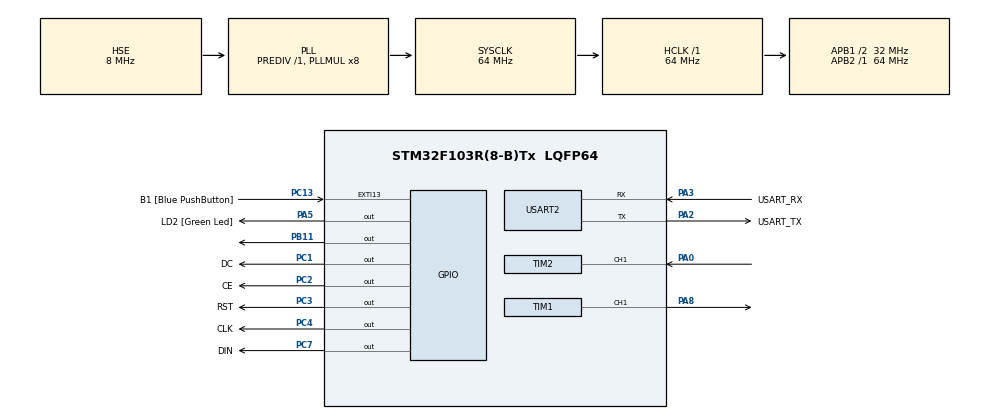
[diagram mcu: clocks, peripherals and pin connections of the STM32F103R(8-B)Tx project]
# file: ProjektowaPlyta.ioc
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Dma.Request0=TIM1_CH1
Dma.Request1=TIM2_CH1
Dma.Request2=TIM2_CH2/CH4
Dma.TIM1_CH1.0.Direction=DMA_MEMORY_TO_PERIPH
Dma.TIM1_CH1.0.Instance=DMA1_Channel2
Dma.TIM1_CH1.0.MemDataAlignment=DMA_MDATAALIGN_WORD
Dma.TIM1_CH1.0.MemInc=DMA_MINC_ENABLE
Dma.TIM1_CH1.0.Mode=DMA_NORMAL
Dma.TIM1_CH1.0.PeriphDataAlignment=DMA_PDATAALIGN_WORD
Dma.TIM1_CH1.0.PeriphInc=DMA_PINC_DISABLE
Dma.TIM1_CH1.0.Priority=DMA_PRIORITY_LOW
Dma.TIM2_CH1.1.Direction=DMA_PERIPH_TO_MEMORY
Dma.TIM2_CH1.1.Instance=DMA1_Channel5
Dma.TIM2_CH1.1.MemDataAlignment=DMA_MDATAALIGN_WORD
Dma.TIM2_CH1.1.MemInc=DMA_MINC_ENABLE
Dma.TIM2_CH1.1.Mode=DMA_NORMAL
Dma.TIM2_CH1.1.PeriphDataAlignment=DMA_PDATAALIGN_WORD
Dma.TIM2_CH1.1.PeriphInc=DMA_PINC_DISABLE
Dma.TIM2_CH1.1.Priority=DMA_PRIORITY_LOW
Dma.TIM2_CH2/CH4.2.Direction=DMA_PERIPH_TO_MEMORY
Dma.TIM2_CH2/CH4.2.Instance=DMA1_Channel7
Dma.TIM2_CH2/CH4.2.MemDataAlignment=DMA_MDATAALIGN_WORD
Dma.TIM2_CH2/CH4.2.MemInc=DMA_MINC_ENABLE
Dma.TIM2_CH2/CH4.2.Mode=DMA_NORMAL
Dma.TIM2_CH2/CH4.2.PeriphDataAlignment=DMA_PDATAALIGN_WORD
Dma.TIM2_CH2/CH4.2.PeriphInc=DMA_PINC_DISABLE
Dma.TIM2_CH2/CH4.2.Priority=DMA_PRIORITY_LOW
Mcu.Family=STM32F1
Mcu.Name=STM32F103R(8-B)Tx
Mcu.Package=LQFP64
NVIC.DMA1_Channel2_IRQn=true\:0\:0\:false\:false\:true\:false\:true
NVIC.DMA1_Channel5_IRQn=true\:0\:0\:false\:false\:true\:false\:true
NVIC.DMA1_Channel7_IRQn=true\:0\:0\:false\:false\:true\:false\:true
NVIC.EXTI15_10_IRQn=true\:0\:0\:false\:false\:true\:true\:true
NVIC.PriorityGroup=NVIC_PRIORITYGROUP_4
NVIC.TIM2_IRQn=true\:0\:0\:false\:false\:true\:true\:true
NVIC.TIM3_IRQn=true\:0\:0\:false\:false\:true\:true\:true
NVIC.USART2_IRQn=true\:0\:0\:false\:false\:true\:true\:true
PA0-WKUP.Signal=S_TIM2_CH1_ETR
PA13.GPIO_Label=TMS
PA13.Mode=Serial_Wire
PA13.Signal=SYS_JTMS-SWDIO
PA14.GPIO_Label=TCK
PA14.Mode=Serial_Wire
PA14.Signal=SYS_JTCK-SWCLK
PA2.GPIO_Label=USART_TX
PA2.GPIO_Mode=GPIO_MODE_AF_PP
PA2.GPIO_PuPd=GPIO_NOPULL
PA2.GPIO_Speed=GPIO_SPEED_FREQ_LOW
PA2.Mode=Asynchronous
PA2.Signal=USART2_TX
PA3.GPIO_Label=USART_RX
PA3.GPIO_Mode=GPIO_MODE_AF_PP
PA3.GPIO_PuPd=GPIO_NOPULL
PA3.GPIO_Speed=GPIO_SPEED_FREQ_LOW
PA3.Mode=Asynchronous
PA3.Signal=USART2_RX
PA5.GPIO_Label=LD2 [Green Led]
PA5.GPIO_ModeDefaultOutputPP=GPIO_MODE_OUTPUT_PP
PA5.GPIO_PuPd=GPIO_NOPULL
PA5.GPIO_Speed=GPIO_SPEED_FREQ_LOW
PA5.Signal=GPIO_Output
PA8.Signal=S_TIM1_CH1
PB11.Signal=GPIO_Output
PB3.GPIO_Label=SWO
PB3.Signal=SYS_JTDO-TRACESWO
PC1.GPIO_Label=DC
PC1.Signal=GPIO_Output
PC13-TAMPER-RTC.GPIO_Label=B1 [Blue PushButton]
PC13-TAMPER-RTC.GPIO_PuPd=GPIO_NOPULL
PC13-TAMPER-RTC.Signal=GPXTI13
PC14-OSC32_IN.Mode=LSE-External-Oscillator
PC14-OSC32_IN.Signal=RCC_OSC32_IN
PC15-OSC32_OUT.Mode=LSE-External-Oscillator
PC15-OSC32_OUT.Signal=RCC_OSC32_OUT
PC2.GPIO_Label=CE
PC2.Signal=GPIO_Output
PC3.GPIO_Label=RST
PC3.Signal=GPIO_Output
PC4.GPIO_Label=CLK
PC4.Signal=GPIO_Output
PC7.GPIO_Label=DIN
PC7.Signal=GPIO_Output
PD0-OSC_IN.Mode=HSE-External-Clock-Source
PD0-OSC_IN.Signal=RCC_OSC_IN
PD1-OSC_OUT.Mode=HSE-External-Clock-Source
PD1-OSC_OUT.Signal=RCC_OSC_OUT
ProjectManager.HeapSize=0x200
ProjectManager.StackSize=0x400
ProjectManager.TargetToolchain=STM32CubeIDE
RCC.AHBFreq_Value=64000000
RCC.APB1CLKDivider=RCC_HCLK_DIV2
RCC.APB1Freq_Value=32000000
RCC.APB1TimFreq_Value=64000000
RCC.APB2Freq_Value=64000000
RCC.APB2TimFreq_Value=64000000
RCC.HCLKFreq_Value=64000000
RCC.PLLMUL=RCC_PLL_MUL8
RCC.PLLSourceVirtual=RCC_PLLSOURCE_HSE
RCC.RTCClockSelection=RCC_RTCCLKSOURCE_LSE
RCC.SYSCLKFreq_VALUE=64000000
RCC.SYSCLKSource=RCC_SYSCLKSOURCE_PLLCLK
RCC.USBFreq_Value=64000000
SH.S_TIM1_CH1.0=TIM1_CH1,PWM Generation1 CH1
SH.S_TIM2_CH1_ETR.0=TIM2_CH1,Input_Capture1_from_TI1
TIM1.AutoReloadPreload=TIM_AUTORELOAD_PRELOAD_ENABLE
TIM1.Channel-PWM\ Generation1\ CH1=TIM_CHANNEL_1
TIM1.CounterMode=TIM_COUNTERMODE_UP
TIM1.Period=6399
TIM1.Prescaler=3
TIM1.Pulse-PWM\ Generation1\ CH1=3199
TIM2.Channel-Input_Capture1_from_TI1=TIM_CHANNEL_1
TIM2.Channel-Input_Capture2_from_TI1_63=TIM_CHANNEL_2
TIM2.ICPolarity_CH2=TIM_INPUTCHANNELPOLARITY_FALLING
TIM2.Period=0xFFFF
TIM3.Channel-Output\ Compare1\ No\ Output=TIM_CHANNEL_1
TIM3.Period=6399
TIM3.Prescaler=9999
USART2.VirtualMode=VM_ASYNC
VP_TIM1_VS_ClockSourceINT.Mode=Internal
VP_TIM2_VS_ClockSourceINT.Mode=Internal
VP_TIM2_VS_indirect_ch1.Mode=Input_Capture2_from_TI1_63
VP_TIM3_VS_ClockSourceINT.Mode=Internal
VP_TIM3_VS_no_output1.Mode=Output Compare1 No Output
board=NUCLEO-F103RB

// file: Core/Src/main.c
/* USER CODE BEGIN Header */
/**
  ******************************************************************************
  * @file           : main.c
  * @brief          : Main program body
  ******************************************************************************
  * @attention
  *
  * <h2><center>&copy; Copyright (c) 2021 STMicroelectronics.
  * All rights reserved.</center></h2>
  *
  * This software component is licensed by ST under BSD 3-Clause license,
  * the "License"; You may not use this file except in compliance with the
  * License. You may obtain a copy of the License at:
  *                        opensource.org/licenses/BSD-3-Clause
  *
  ******************************************************************************
  */
/* USER CODE END Header */
#include "main.h"
#include "dma.h"
#include "tim.h"
#include "usart.h"
#include "gpio.h"

/* USER CODE BEGIN Includes */
#include <stdio.h>
#include <string.h>
#include <stdarg.h>
#include <ctype.h>

/* USER CODE END Includes */

/* USER CODE BEGIN PD */
#define BUF_TX_LEN 1024
#define BUF_RX_LEN 512
/* USER CODE END PD */

/* USER CODE BEGIN PV */
/* Private variables ---------------------------------------------------------*/
uint8_t Buf_TX[BUF_TX_LEN];
uint8_t Buf_RX[BUF_RX_LEN];
__IO int emptyTX=0;
__IO int busyTX=0;
__IO int emptyRX=0;
__IO int busyRX=0;

char bfr[261]; //ramka
volatile uint16_t fid=0;//wskaźnik ramki
int fstate = 0;
enum state{listen=1, notlisten=0};
char order[256]; //tablica polecenia
int czas=10;//wartosc domyslna dla FTIME
unsigned long wart=65535;//wartosc domyslna dla FFILL
int czest=10;//wartos domyslna dla FSET
char ENQ = 0x05;
char EOT = 0x04;

uint32_t Difference=0;
uint32_t pwmData[4];
uint32_t pwmLen = 0;
uint32_t seconds_passed = 0;
uint32_t period=0;
int licznik=0;
int width = 0;
int riseCaptured = 0;
int fallCaptured = 0;
uint32_t riseData[1];
uint32_t fallData[1];
int isMeasured = 0;
/* USER CODE END PV */

void SystemClock_Config(void);
/* USER CODE BEGIN PFP */
/* Private function prototypes -----------------------------------------------*/

/* USER CODE END PFP */

/* USER CODE BEGIN 0 */

uint8_t get_char(){
	uint8_t tmp;
	if(emptyRX != busyRX){
		tmp = Buf_RX[busyRX];
		busyRX++;
		if(busyRX >= BUF_RX_LEN){
			busyRX=0;
		}

		return tmp;
	}
	else{
		return 0;
	}
}
int checkSum(char *buffer)
{
	int suma = 0;
	int dlugosc = strlen(buffer);
	int i;
	for(i = 0; i<dlugosc-1; i++){
			suma=suma+buffer[i];
		}
	return suma%256;
}
void fmessage(char msg[], char dst[]){
	int ctrlSumMsg = checkSum(msg);
	sprintf(dst, "%c%s;%02X%c\r\n",EOT,msg,ctrlSumMsg,ENQ);
}
void fsend(char* format, ...){
	char tmp_rs[256];
	int i;
	__IO int pid;
	va_list arglist;
	va_start(arglist, format);
	vsprintf(tmp_rs, format, arglist);
	va_end(arglist);
	char fmsg[261]={0};
	fmessage(tmp_rs, fmsg);
	pid = emptyTX;
	for(i = 0; i < strlen(fmsg); i++){
		Buf_TX[pid] = fmsg[i];
		pid++;
		if(pid >= BUF_TX_LEN){
			pid = 0;
		}
	}
	__disable_irq();
	if((emptyTX == busyTX) && (__HAL_UART_GET_FLAG(&huart2, UART_FLAG_TXE) == SET)){
		emptyTX = pid;
		uint8_t tmp = Buf_TX[busyTX];
		busyTX++;
		if(busyTX >= BUF_TX_LEN)
			busyTX = 0;
		HAL_UART_Transmit_IT(&huart2, &tmp, 1);
	}
	else{
		emptyTX = pid;
	}
	__enable_irq();
}

void wypelnienie(int wartosc, uint32_t period){
	for(int i = 0; i<=3; i++){
			if(wartosc>period){
				pwmData[i]=period;
				wartosc = wartosc/period;
			}
			else{
				pwmData[i]=wartosc;
				pwmLen=i+1;
				i=4;
			}
		}
}

void start(){
			period=(64000000/(czest*1000))-1;
			wypelnienie(wart,period);
			TIM1->CCR1=pwmData[0];
			htim1.Init.Period = period;
			HAL_TIM_Base_Start_IT(&htim3);
			HAL_TIM_PWM_Start_DMA(&htim1, TIM_CHANNEL_1, (uint32_t *)pwmData, pwmLen);
			HAL_TIM_IC_Start_DMA(&htim2, TIM_CHANNEL_1,riseData,1);
			HAL_TIM_IC_Start_DMA(&htim2, TIM_CHANNEL_2,fallData,1);
}
void doner(char *ord){

	if (strcmp("FCHKL;", ord) == 0){

		fsend("Ilosc impulsow od zbocza narastajacego do opadajacego wynosi %d",Difference);

	}
	else if(strcmp("FCHKH;", ord) == 0){

		fsend("Ilosc impulsow wyslanych w zadanym czasie wynosi %d",riseCaptured/pwmLen);

	}
	else if(strcmp("FSTART;", ord) == 0){
		fsend("Rozpoczeto wysylanie impulsow");
		seconds_passed=0;
		Difference = 0;
		riseCaptured = 0;
		fallCaptured = 0;
		start();
	}
	else if(strcmp("FSTAT;", ord) == 0){
		fsend("Wypelnienie %u Czas %d Czestotliwosc %d",wart,czas,czest);
	}
	else if(sscanf(ord, "FTIME%d;", &czas) == 1 || strcmp("FTIME;", ord) == 0){
		if(czas>=0 && czas<=20){
			fsend("Ustawiono czas na %d sekund",czas);
		}
		else{
			fsend("WRNUM");
		}
	}
	else if(sscanf(ord, "FFILL%u;", &wart) == 1 || strcmp("FFIL;", ord) == 0){
		if(wart>=0 && wart<= 4294967295){
			fsend("Ustawiono wypelnienie na %u",wart);
		}
		else{
			fsend("WRNUM");
		}
	}
	else if(sscanf(ord, "FSET%d;", &czest) == 1 || strcmp("FSET;", ord) == 0){
		if(czest>=1 && czest<=250){
					fsend("Ustawiono czestotliwosc na %d kHz",czest);
				}
				else{
					fsend("WRNUM");
				}
	}
	else{
		fsend("WRCMD");
	}

}

int hexVal(char *buffer){
	int suma = 0;
	int dlugosc = strlen(buffer);
	int i;
	int miejsca = 1;
	for(i = dlugosc-1; i>=0; i--){
		if(buffer[i]>='0' && buffer[i]<='9'){
			suma = suma +(buffer[i] - 48)*miejsca;
		}else if(buffer[i]>='A' && buffer[i]<='F'){
			suma = suma +(buffer[i] - 55)*miejsca;
		}
		miejsca = miejsca*16;
	}
	return suma;
}

void get_analyze(){
	char temp = get_char();//Pobranie znaku do zmiennej

	if(temp==0x05){
		fstate=listen;
		fid = 0;
		memset(&bfr[0],0, sizeof(bfr));
		bfr[fid] = temp;
		fid = fid+1;
	}
	else if(temp == 0x04 && fstate == listen){
		fstate = notlisten;
		bfr[fid]= temp;
		fid++;
		char ctrlSumFrame[3]={bfr[fid-3],
				bfr[fid-2], '\0'};
		int ctrlSumUser = hexVal(ctrlSumFrame);
		bfr[fid-3]='\0';
		memmove(&bfr[0],&bfr[1],strlen(bfr));
		int ctrlSumProgram = checkSum(bfr);
		if(ctrlSumProgram == ctrlSumUser){
			int frm_id = 0;
			int ord_id;
			int i;
			for(i = 0; i< fid; i++){
				if(bfr[i]==';' && bfr[i-1]!=';' && i!=0){
					memset(&order[0],0,sizeof(order));
					ord_id = 0;
					while(frm_id <= i){
						order[ord_id] = bfr[frm_id];
						frm_id++;
						ord_id++;
					}
					frm_id = i + 1;
					doner(order);
				}
			}
		}else{
			fsend("WRCHS%02X",ctrlSumProgram);
		}
	}else if(fstate == listen){
		if(!(temp > 0x21 && temp < 0x7E)){
			fsend("WRFRM");
			fstate = notlisten;
		}else{
			bfr[fid] = temp;
			fid = fid + 1;
			if(fid > 261){
				fsend("WRFRM");
				fstate = notlisten;
			}
		}
	}

}

void HAL_UART_TxCpltCallback(UART_HandleTypeDef *huart)
{
	if (huart == &huart2){
		if(emptyTX != busyTX){
			uint8_t tmp = Buf_TX[busyTX];
			busyTX++;
			if(busyTX >= BUF_TX_LEN){
				busyTX = 0;
			}
			HAL_UART_Transmit_IT(&huart2, &tmp, 1);
		}
	}
}

void HAL_UART_RxCpltCallback(UART_HandleTypeDef *huart)
{

	if (huart == &huart2){
		emptyRX++;
		if(emptyRX >= BUF_RX_LEN){
			emptyRX = 0;
		}
		HAL_UART_Receive_IT(&huart2,&Buf_RX[emptyRX], 1);
	}
}

/* USER CODE END 0 */

int main(void)
{

  /* MCU Configuration--------------------------------------------------------*/

  /* Reset of all peripherals, Initializes the Flash interface and the Systick. */
  HAL_Init();

  /* Configure the system clock */
  SystemClock_Config();

  /* Initialize all configured peripherals */
  MX_GPIO_Init();
  MX_USART2_UART_Init();
  MX_TIM1_Init();
  MX_TIM2_Init();
  MX_DMA_Init();
  MX_TIM3_Init();
  /* USER CODE BEGIN 2 */

  fsend("Czestotliwosciomierz");

  /* USER CODE END 2 */

  /* Infinite loop */
  /* USER CODE BEGIN WHILE */
  HAL_UART_Receive_IT(&huart2,&Buf_RX[0], 1);

  while (1) {

	  if(busyRX!=emptyRX){
		  get_analyze();
	  }

	  if (isMeasured==1)
	  	 	  {
	  	 		  TIM2->CNT = 0;

	  	 		  HAL_TIM_IC_Start_DMA(&htim2, TIM_CHANNEL_1, riseData, 1);

	  	 		  HAL_TIM_IC_Start_DMA(&htim2, TIM_CHANNEL_2, fallData, 1);

	  	 		  isMeasured = 0;
	  	 	  }

    /* USER CODE END WHILE */

	}
}

void SystemClock_Config(void)
{
  RCC_OscInitTypeDef RCC_OscInitStruct = {0};
  RCC_ClkInitTypeDef RCC_ClkInitStruct = {0};

  /** Initializes the RCC Oscillators according to the specified parameters
  * in the RCC_OscInitTypeDef structure.
  */
  RCC_OscInitStruct.OscillatorType = RCC_OSCILLATORTYPE_HSE;
  RCC_OscInitStruct.HSEState = RCC_HSE_BYPASS;
  RCC_OscInitStruct.HSEPredivValue = RCC_HSE_PREDIV_DIV1;
  RCC_OscInitStruct.HSIState = RCC_HSI_ON;
  RCC_OscInitStruct.PLL.PLLState = RCC_PLL_ON;
  RCC_OscInitStruct.PLL.PLLSource = RCC_PLLSOURCE_HSE;
  RCC_OscInitStruct.PLL.PLLMUL = RCC_PLL_MUL8;
  if (HAL_RCC_OscConfig(&RCC_OscInitStruct) != HAL_OK)
  {
    Error_Handler();
  }
  /** Initializes the CPU, AHB and APB buses clocks
  */
  RCC_ClkInitStruct.ClockType = RCC_CLOCKTYPE_HCLK|RCC_CLOCKTYPE_SYSCLK
                              |RCC_CLOCKTYPE_PCLK1|RCC_CLOCKTYPE_PCLK2;
  RCC_ClkInitStruct.SYSCLKSource = RCC_SYSCLKSOURCE_PLLCLK;
  RCC_ClkInitStruct.AHBCLKDivider = RCC_SYSCLK_DIV1;
  RCC_ClkInitStruct.APB1CLKDivider = RCC_HCLK_DIV2;
  RCC_ClkInitStruct.APB2CLKDivider = RCC_HCLK_DIV1;

  if (HAL_RCC_ClockConfig(&RCC_ClkInitStruct, FLASH_LATENCY_2) != HAL_OK)
  {
    Error_Handler();
  }
}

/* USER CODE BEGIN 4 */
void HAL_TIM_IC_CaptureCallback(TIM_HandleTypeDef *htim)
{
		if (htim->Instance == TIM2 && htim->Channel == HAL_TIM_ACTIVE_CHANNEL_1)
		{
			riseCaptured++;

		}

		if (htim->Instance == TIM2 && htim->Channel == HAL_TIM_ACTIVE_CHANNEL_2)
		{

			fallCaptured++;

		}
		if ((riseCaptured)&&(fallCaptured)){

			if(licznik>pwmLen-1){
				licznik = 0;
			}
			TIM1->CCR1=pwmData[licznik];
			licznik++;
			isMeasured = 1;

			if(width<pwmLen){
				if(fallData[0]>riseData[0]){
						Difference = Difference+(fallData[0]-riseData[0]);
					}
				else{
						Difference = Difference+(riseData[0]-fallData[0]);

					}
				width++;
			}
		}
}

void HAL_TIM_PeriodElapsedCallback(TIM_HandleTypeDef *htim){

	if(htim->Instance == TIM3){
		seconds_passed += 1;
		if(seconds_passed>=czas)
		{
			HAL_TIM_PWM_Stop_DMA(&htim1, TIM_CHANNEL_1);
			HAL_TIM_IC_Stop_DMA(&htim2, TIM_CHANNEL_1);
			HAL_TIM_IC_Stop_DMA(&htim2, TIM_CHANNEL_2);
			HAL_TIM_Base_Stop_IT(&htim3);

			fsend("Przesylanie zakonczone");
		}
	}

}

/* USER CODE END 4 */

void Error_Handler(void)
{
	while (1) {
	}
}

/************************ (C) COPYRIGHT STMicroelectronics *****END OF FILE****/
